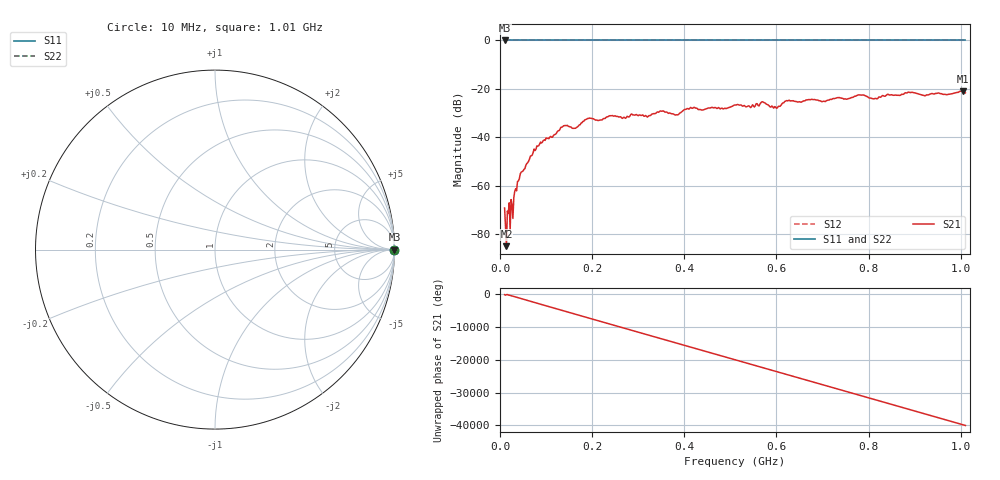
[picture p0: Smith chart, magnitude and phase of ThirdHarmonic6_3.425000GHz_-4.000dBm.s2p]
! 8/17/2025 10:59:57 AM
! C:\ANRITSUVNA\TEMP\TEMP.S2P
! CHANNEL.1
! TR.MEASUREMENT
! RAW.DATA
! RF.CORRECTION.OFF
! AVERAGING.OFF
! IF.BANDWIDTH: 5KHZ
! SWEEPTYPE:  FREQ.SWEEP(Linear)
! Reference Plane Port Info
! PORT:  PORT1  PORT2
! DISTANCE:  0  m  0  m
! TIME:  0  s  0  s
! PHASE.OFFSET:  0  deg.  0  deg.
! LOSS:  0  dB  0  dB
! REF.LOSS:  0  dB  0  dB
! REF.FREQ:  0  Hz  0  Hz
! Power Info
! POWER:  -20  dBm  -20  dBm
! EFF.POWER:  -20  dBm  -20  dBm
! SOURCE.ATTEN:  0  dB  0  dB
! TEST.ATTEN:  0  dB  0  dB
# GHZ S RI R 50.0
! FREQ.GHZ  S11RE  S11IM  S21RE  S21IM  S12RE  S12IM  S22RE  S22IM
!; PortSelection: Port_12
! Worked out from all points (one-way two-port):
!   501 points, 10 MHz to 1.01 GHz, reference 50 ohm
!   highest |S21| = -20.93 dB at 1.004 GHz (marker M1); lowest = -85.0 dB at 14 MHz (marker M2)
!   lowest |S11| = 0.0 dB at 10 MHz (marker M3)
!   |S11| at or under -10 dB: nowhere
!   |S22| runs from 0.0 to 0.0 dB; largest |S21 - S12| = 1.1
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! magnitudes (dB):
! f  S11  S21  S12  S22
! 10 MHz  0.0  -69.2  0.0  0.0
! 14 MHz  0.0  -85.0  0.0  0.0
! 26 MHz  0.0  -67.7  0.0  0.0
! 34 MHz  0.0  -61.2  0.0  0.0
! 42 MHz  0.0  -57.1  0.0  0.0
! 78 MHz  0.0  -45.0  0.0  0.0
! 136 MHz  0.0  -35.6  0.0  0.0
! 162 MHz  0.0  -36.3  0.0  0.0
! 178 MHz  0.0  -34.0  0.0  0.0
! 194 MHz  0.0  -32.0  0.0  0.0
! 322 MHz  0.0  -31.3  0.0  0.0
! 344 MHz  0.0  -29.7  0.0  0.0
! 384 MHz  0.0  -30.7  0.0  0.0
! 418 MHz  0.0  -28.0  0.0  0.0
! 510 MHz  0.0  -26.6  0.0  0.0
! 570 MHz  0.0  -25.3  0.0  0.0
! 598 MHz  0.0  -27.5  0.0  0.0
! 624 MHz  0.0  -24.9  0.0  0.0
! 678 MHz  0.0  -24.3  0.0  0.0
! 844 MHz  0.0  -22.5  0.0  0.0
! 1.004 GHz  0.0  -20.9  0.0  0.0
! 1.01 GHz  0.0  -21.7  0.0  0.0
